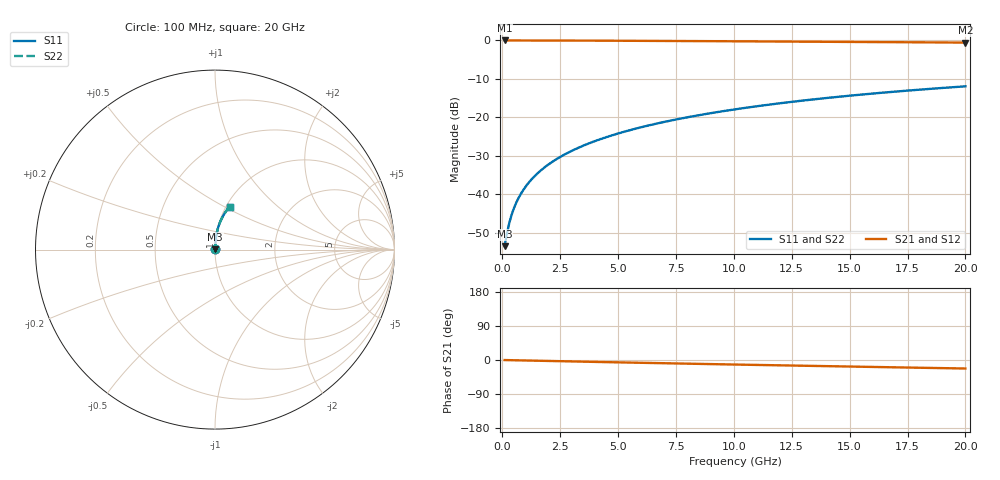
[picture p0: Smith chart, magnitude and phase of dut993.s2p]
! Touchstone file exported from HFSS 2024.1.0
!  File:  C:/UserFiles/LocalFiles/RDL_TSV_Batchsim/temp_RDL_bottom_993_1779943999.aedt
!  Generated:  12:55:34 PM May 28, 2026
!  Design:  RDL_bottom
!  Project:  temp_RDL_bottom_993_1779943999
!  Setup:  Setup1
!  Solution:  Sweep
! Variables:
!  dtsv = 10.80580581um
!  hbump = 3um
!  htsv = 57.54um
!  ldown = 286.65um
!  lrdl = 100um
!  p = 40
!  p1 = 45.76um
!  rhole = 1um
!  t = 450um
!  tdown = 3.93um
!  trdl = 3.915915916um
!  wdown = 17.03um
!  wrdl = 20um
# GHz S MA R 50.000000
! Terminal data exported
! Port[1] = RDL1_T1
! Port[2] = RDL1_T2
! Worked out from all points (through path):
!   200 points, 100 MHz to 20 GHz, reference 50 ohm
!   highest |S21| = -0.01 dB at 100 MHz (marker M1); lowest = -0.6 dB at 20 GHz (marker M2)
!   group delay of S21, straight-line fit = 3.1 ps
!   lowest |S11| = -53.5 dB at 100 MHz (marker M3), VSWR 1.00, Z = 50.2 + j0.13 ohm
!   |S11| at or under -10 dB: start of sweep to end of sweep
!   |S22| runs from -53.5 to -11.9 dB; largest |S21 - S12| = 2.1e-15
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0.1  0.002117 37.7  0.9983 -0.1  0.9983 -0.1  0.002117 37.7
! Gamma 0 0 0 0
! Port Impedance 50 0 50 0
0.2  0.003093 56.3  0.9983 -0.3  0.9983 -0.3  0.003094 56.3
0.3  0.004221 65.3  0.9982 -0.4  0.9982 -0.4  0.004221 65.2
0.4  0.005389 70.2  0.9981 -0.5  0.9981 -0.5  0.005388 70.2
0.5  0.006567 73.4  0.998 -0.6  0.998 -0.6  0.006566 73.4
0.6  0.007747 75.6  0.998 -0.8  0.998 -0.8  0.007746 75.6
0.8  0.01011 78.6  0.9978 -1.0  0.9978 -1.0  0.01011 78.6
1.1  0.01367 81.2  0.9976 -1.4  0.9976 -1.4  0.01367 81.1
1.5  0.01846 83.1  0.9972 -1.9  0.9972 -1.9  0.01846 83.0
1.8  0.02207 83.9  0.9968 -2.3  0.9968 -2.3  0.02207 83.9
2.1  0.02571 84.5  0.9964 -2.7  0.9964 -2.7  0.0257 84.5
2.7  0.03302 85.2  0.9954 -3.4  0.9954 -3.4  0.03302 85.2
3.5  0.04288 85.5  0.9938 -4.4  0.9938 -4.4  0.04288 85.5
4.2  0.0516 85.5  0.9922 -5.3  0.9922 -5.3  0.0516 85.5
5  0.06167 85.3  0.9901 -6.2  0.9901 -6.2  0.06167 85.3
5.9  0.07313 84.9  0.9875 -7.3  0.9875 -7.3  0.07313 84.9
6.8  0.0847 84.4  0.9847 -8.3  0.9847 -8.3  0.0847 84.4
8.4  0.1055 83.2  0.9794 -10.2  0.9794 -10.2  0.1055 83.2
10.1  0.1277 81.7  0.9736 -12.1  0.9736 -12.1  0.1277 81.7
13.4  0.1707 78.3  0.9618 -15.6  0.9618 -15.6  0.1707 78.3
16.7  0.2127 74.8  0.9494 -19.1  0.9494 -19.1  0.2127 74.8
20  0.253 71.2  0.9364 -22.5  0.9364 -22.5  0.253 71.2
